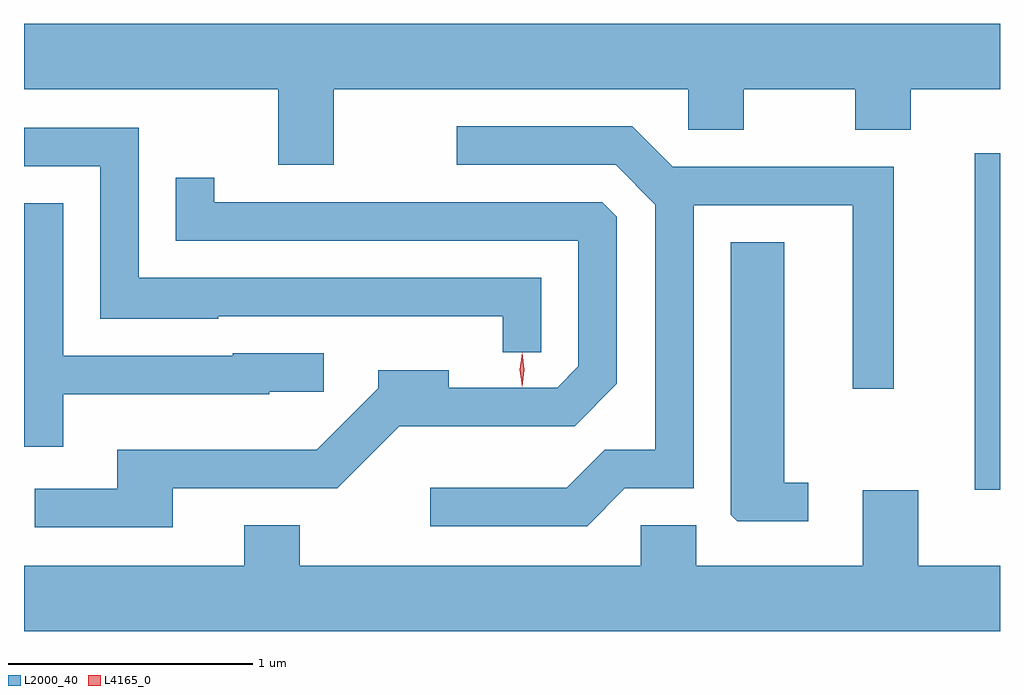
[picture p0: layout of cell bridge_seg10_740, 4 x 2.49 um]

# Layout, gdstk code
import gdstk
lib = gdstk.Library(unit=1e-6, precision=1e-09)
def R(c, l, rs):  # rectangles x0, y0, x1, y1
    for r in rs: c.add(gdstk.rectangle(r[:2], r[2:], *l))
def P(c, l, *ps):  # polygons
    for p in ps: c.add(gdstk.Polygon(p, *l))
L2000_40 = (2000, 40)
L4165_0 = (4165, 0)

bridge_seg10_740 = lib.new_cell('bridge_seg10_740')
R(bridge_seg10_740, L2000_40, [(567.106,2112.276,567.209,2113.654)])
P(bridge_seg10_740, L2000_40, [(564.479,2113.916),(565.931,2113.916),(565.931,2113.751),(566.159,2113.751),(566.159,2113.916),(566.616,2113.916),(566.616,2113.751),(566.844,2113.751),(566.844,2113.916),(567.209,2113.916),(567.209,2114.184),(563.209,2114.184),(563.209,2113.916),(564.251,2113.916),(564.251,2113.606),(564.479,2113.606)],
  [(565.672,2112.281),(565.954,2112.281),(565.954,2113.441),(566.606,2113.441),(566.606,2112.688),(566.774,2112.688),(566.774,2113.599),(565.867,2113.599),(565.702,2113.764),(564.983,2113.764),(564.983,2113.606),(565.634,2113.606),(565.796,2113.444),(565.796,2112.439),(565.589,2112.439),(565.434,2112.284),(564.873,2112.284),(564.873,2112.126),(565.517,2112.126)],
  [(565.329,2113.144),(563.679,2113.144),(563.679,2113.759),(563.209,2113.759),(563.209,2113.601),(563.521,2113.601),(563.521,2112.976),(564.005,2112.976),(564.005,2112.986),(565.171,2112.986),(565.171,2112.838),(565.329,2112.838)],
  [(563.819,2112.281),(564.492,2112.281),(564.747,2112.536),(565.467,2112.536),(565.639,2112.709),(565.639,2113.394),(565.579,2113.454),(563.989,2113.454),(563.989,2113.553),(563.831,2113.553),(563.831,2113.296),(565.481,2113.296),(565.481,2112.782),(565.394,2112.694),(564.949,2112.694),(564.949,2112.764),(564.661,2112.764),(564.661,2112.692),(564.409,2112.439),(563.591,2112.439),(563.591,2112.279),(563.253,2112.279),(563.253,2112.121),(563.819,2112.121)],
  [(563.369,2112.666),(564.215,2112.666),(564.215,2112.676),(564.438,2112.676),(564.438,2112.834),(564.065,2112.834),(564.065,2112.824),(563.369,2112.824),(563.369,2113.449),(563.209,2113.449),(563.209,2113.291),(563.211,2113.291),(563.211,2112.614),(563.209,2112.614),(563.209,2112.451),(563.369,2112.451)],
  [(566.423,2112.304),(566.324,2112.304),(566.324,2113.289),(566.106,2113.289),(566.106,2112.172),(566.132,2112.146),(566.423,2112.146)],
  [(567.209,2111.964),(566.874,2111.964),(566.874,2112.274),(566.646,2112.274),(566.646,2111.964),(565.964,2111.964),(565.964,2112.129),(565.736,2112.129),(565.736,2111.964),(564.339,2111.964),(564.339,2112.129),(564.111,2112.129),(564.111,2111.964),(563.209,2111.964),(563.209,2111.696),(567.209,2111.696)])
P(bridge_seg10_740, L4165_0, [(565.25,2112.698),(565.24,2112.767),(565.25,2112.836),(565.25,2112.837),(565.25,2112.836),(565.26,2112.767),(565.251,2112.698),(565.251,2112.698)])

lib.write_gds('bridge_seg10_740.gds')
